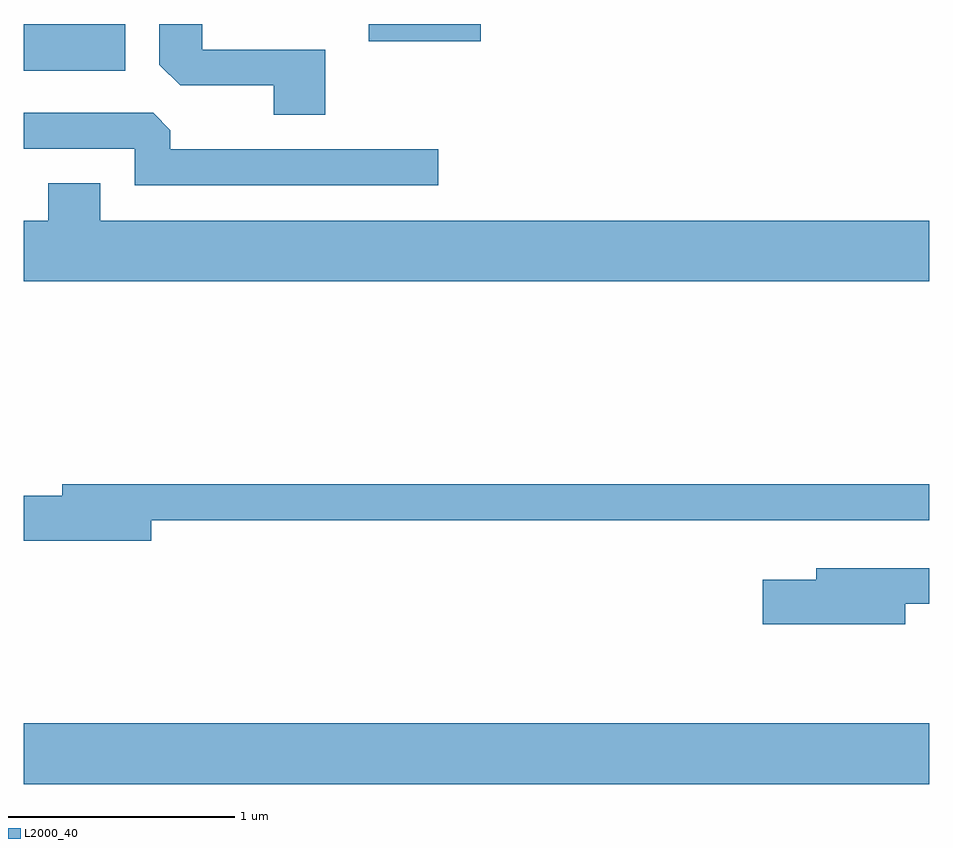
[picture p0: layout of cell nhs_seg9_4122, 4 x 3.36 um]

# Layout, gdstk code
import gdstk
lib = gdstk.Library(unit=1e-6, precision=1e-09)
def R(c, l, rs):  # rectangles x0, y0, x1, y1
    for r in rs: c.add(gdstk.rectangle(r[:2], r[2:], *l))
def P(c, l, *ps):  # polygons
    for p in ps: c.add(gdstk.Polygon(p, *l))
L2000_40 = (2000, 40)

nhs_seg9_4122 = lib.new_cell('nhs_seg9_4122')
R(nhs_seg9_4122, L2000_40, [(305.611,2065.076,309.611,2065.344), (305.611,2068.226,306.059,2068.432), (307.136,2068.356,307.629,2068.432)])
P(nhs_seg9_4122, L2000_40, [(306.944,2068.319),(306.399,2068.319),(306.399,2068.432),(306.211,2068.432),(306.211,2068.251),(306.302,2068.161),(306.716,2068.161),(306.716,2068.031),(306.944,2068.031)],
  [(307.443,2067.879),(306.259,2067.879),(306.259,2067.963),(306.184,2068.039),(305.611,2068.039),(305.611,2067.881),(306.101,2067.881),(306.101,2067.721),(307.443,2067.721)],
  [(309.611,2067.564),(305.949,2067.564),(305.949,2067.729),(305.721,2067.729),(305.721,2067.564),(305.611,2067.564),(305.611,2067.296),(309.611,2067.296)],
  [(306.174,2066.241),(309.611,2066.241),(309.611,2066.399),(305.781,2066.399),(305.781,2066.349),(305.611,2066.349),(305.611,2066.151),(306.174,2066.151)],
  [(309.504,2065.871),(309.611,2065.871),(309.611,2066.029),(309.111,2066.029),(309.111,2065.979),(308.876,2065.979),(308.876,2065.781),(309.504,2065.781)])

lib.write_gds('nhs_seg9_4122.gds')
